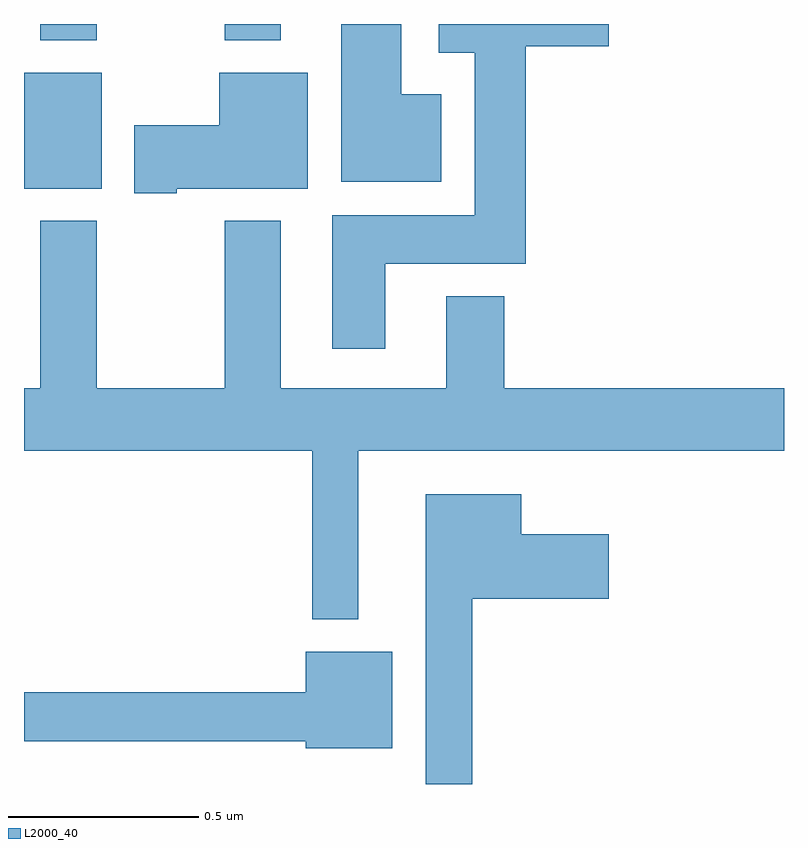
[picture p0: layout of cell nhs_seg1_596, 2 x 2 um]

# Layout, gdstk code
import gdstk
lib = gdstk.Library(unit=1e-6, precision=1e-09)
def R(c, l, rs):  # rectangles x0, y0, x1, y1
    for r in rs: c.add(gdstk.rectangle(r[:2], r[2:], *l))
def P(c, l, *ps):  # polygons
    for p in ps: c.add(gdstk.Polygon(p, *l))
L2000_40 = (2000, 40)

nhs_seg1_596 = lib.new_cell('nhs_seg1_596')
R(nhs_seg1_596, L2000_40, [(118,541.766,118.204,542.071), (118.043,542.156,118.191,542.199), (118.528,542.156,118.675,542.199)])
P(nhs_seg1_596, L2000_40, [(119.098,542.014),(118.993,542.014),(118.993,542.199),(118.835,542.199),(118.835,541.784),(119.098,541.784)],
  [(118.951,541.568),(119.321,541.568),(119.321,542.141),(119.539,542.141),(119.539,542.199),(119.091,542.199),(119.091,542.123),(119.186,542.123),(119.186,541.696),(118.811,541.696),(118.811,541.344),(118.951,541.344)],
  [(118.402,541.766),(118.747,541.766),(118.747,542.071),(118.514,542.071),(118.514,541.932),(118.29,541.932),(118.29,541.754),(118.402,541.754)],
  [(118.879,541.076),(120,541.076),(120,541.24),(119.264,541.24),(119.264,541.483),(119.111,541.483),(119.111,541.24),(118.675,541.24),(118.675,541.681),(118.528,541.681),(118.528,541.24),(118.191,541.24),(118.191,541.681),(118.043,541.681),(118.043,541.24),(118,541.24),(118,541.076),(118.758,541.076),(118.758,540.632),(118.879,540.632)],
  [(119.179,540.686),(119.539,540.686),(119.539,540.856),(119.308,540.856),(119.308,540.961),(119.057,540.961),(119.057,540.199),(119.179,540.199)],
  [(118.969,540.547),(118.742,540.547),(118.742,540.44),(118,540.44),(118,540.312),(118.742,540.312),(118.742,540.293),(118.969,540.293)])

lib.write_gds('nhs_seg1_596.gds')
